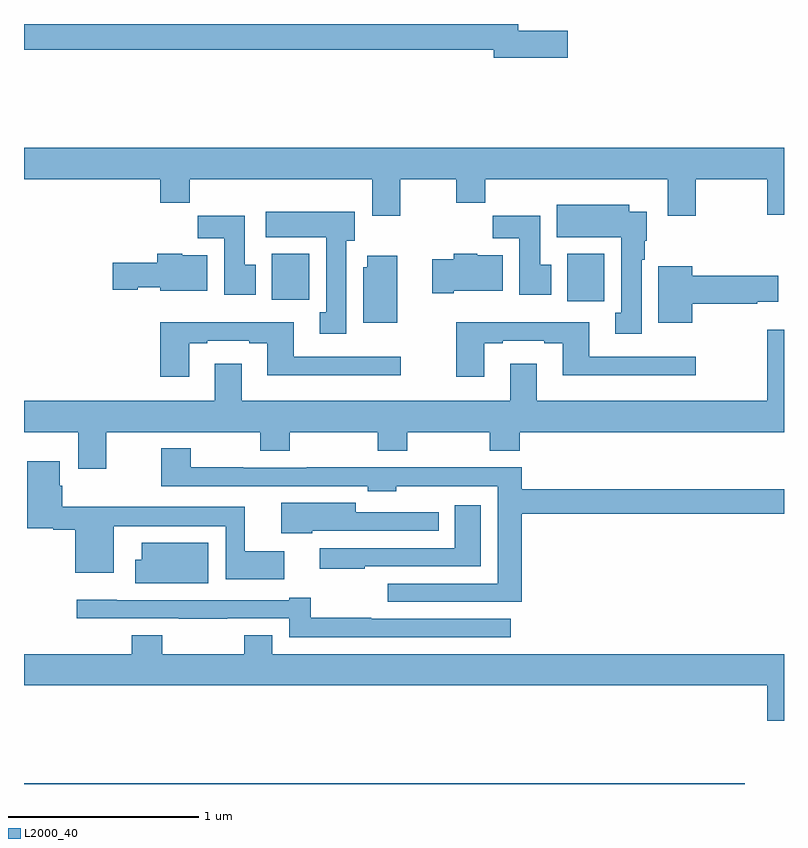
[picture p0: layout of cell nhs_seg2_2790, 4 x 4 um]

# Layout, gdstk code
import gdstk
lib = gdstk.Library(unit=1e-6, precision=1e-09)
def R(c, l, rs):  # rectangles x0, y0, x1, y1
    for r in rs: c.add(gdstk.rectangle(r[:2], r[2:], *l))
def P(c, l, *ps):  # polygons
    for p in ps: c.add(gdstk.Polygon(p, *l))
L2000_40 = (2000, 40)

nhs_seg2_2790 = lib.new_cell('nhs_seg2_2790')
R(nhs_seg2_2790, L2000_40, [(257,629.8,260.794,629.804), (259.859,632.34,260.055,632.59), (258.305,632.348,258.502,632.59)])
P(nhs_seg2_2790, L2000_40, [(259.861,633.764),(259.6,633.764),(259.6,633.8),(257,633.8),(257,633.664),(259.472,633.664),(259.472,633.622),(259.861,633.622)],
  [(258.981,632.984),(259.276,632.984),(259.276,632.86),(259.427,632.86),(259.427,632.984),(260.387,632.984),(260.387,632.79),(260.535,632.79),(260.535,632.984),(260.912,632.984),(260.912,632.796),(261,632.796),(261,633.148),(257,633.148),(257,632.984),(257.717,632.984),(257.717,632.86),(257.873,632.86),(257.873,632.984),(258.833,632.984),(258.833,632.79),(258.981,632.79)],
  [(260.251,632.558),(260.266,632.558),(260.266,632.658),(260.278,632.658),(260.278,632.812),(260.185,632.812),(260.185,632.848),(259.805,632.848),(259.805,632.678),(260.144,632.678),(260.144,632.281),(260.111,632.281),(260.111,632.169),(260.251,632.169)],
  [(258.697,632.658),(258.742,632.658),(258.742,632.812),(258.273,632.812),(258.273,632.678),(258.59,632.678),(258.59,632.282),(258.557,632.282),(258.557,632.169),(258.697,632.169)],
  [(258.22,632.532),(258.163,632.532),(258.163,632.791),(257.914,632.791),(257.914,632.672),(258.053,632.672),(258.053,632.376),(258.22,632.376)],
  [(259.774,632.532),(259.717,632.532),(259.717,632.79),(259.468,632.79),(259.468,632.672),(259.607,632.672),(259.607,632.376),(259.774,632.376)],
  [(257.965,632.584),(257.832,632.584),(257.832,632.59),(257.702,632.59),(257.702,632.544),(257.466,632.544),(257.466,632.402),(257.598,632.402),(257.598,632.414),(257.718,632.414),(257.718,632.396),(257.965,632.396)],
  [(259.261,632.396),(259.519,632.396),(259.519,632.584),(259.386,632.584),(259.386,632.59),(259.261,632.59),(259.261,632.562),(259.149,632.562),(259.149,632.384),(259.261,632.384)],
  [(258.964,632.581),(258.806,632.581),(258.806,632.52),(258.785,632.52),(258.785,632.228),(258.964,632.228)],
  [(260.518,632.327),(260.858,632.327),(260.858,632.339),(260.971,632.339),(260.971,632.474),(260.518,632.474),(260.518,632.524),(260.339,632.524),(260.339,632.228),(260.518,632.228)],
  [(257.869,632.121),(257.965,632.121),(257.965,632.133),(258.185,632.133),(258.185,632.121),(258.281,632.121),(258.281,631.952),(258.982,631.952),(258.982,632.049),(258.421,632.049),(258.421,632.23),(257.717,632.23),(257.717,631.944),(257.869,631.944)],
  [(259.423,632.121),(259.519,632.121),(259.519,632.133),(259.739,632.133),(259.739,632.121),(259.835,632.121),(259.835,631.952),(260.536,631.952),(260.536,632.049),(259.975,632.049),(259.975,632.23),(259.276,632.23),(259.276,631.944),(259.423,631.944)],
  [(258.145,632.011),(258.005,632.011),(258.005,631.816),(257,631.816),(257,631.652),(257.285,631.652),(257.285,631.458),(257.433,631.458),(257.433,631.652),(258.244,631.652),(258.244,631.553),(258.399,631.553),(258.399,631.652),(258.862,631.652),(258.862,631.553),(259.017,631.553),(259.017,631.652),(259.45,631.652),(259.45,631.553),(259.61,631.553),(259.61,631.652),(261,631.652),(261,632.191),(260.912,632.191),(260.912,631.816),(259.699,631.816),(259.699,632.011),(259.559,632.011),(259.559,631.816),(258.145,631.816)],
  [(259.619,631.222),(261,631.222),(261,631.351),(259.619,631.351),(259.619,631.466),(258.487,631.466),(258.487,631.464),(258.155,631.464),(258.155,631.466),(257.877,631.466),(257.877,631.567),(257.722,631.567),(257.722,631.368),(258.81,631.368),(258.81,631.34),(258.96,631.34),(258.96,631.367),(259.172,631.367),(259.172,631.368),(259.493,631.368),(259.493,630.855),(258.915,630.855),(258.915,630.759),(259.619,630.759)],
  [(258.37,631.024),(258.161,631.024),(258.161,631.258),(257.201,631.258),(257.201,631.37),(257.188,631.37),(257.188,631.498),(257.017,631.498),(257.017,631.145),(257.154,631.145),(257.154,631.138),(257.27,631.138),(257.27,630.911),(257.473,630.911),(257.473,631.157),(258.063,631.157),(258.063,630.878),(258.37,630.878)],
  [(258.516,631.134),(259.183,631.134),(259.183,631.23),(258.745,631.23),(258.745,631.279),(258.354,631.279),(258.354,631.119),(258.516,631.119)],
  [(258.793,630.945),(259.405,630.945),(259.405,631.267),(259.268,631.267),(259.268,631.041),(258.557,631.041),(258.557,630.932),(258.793,630.932)],
  [(257.971,631.069),(257.621,631.069),(257.621,630.979),(257.585,630.979),(257.585,630.857),(257.971,630.857)],
  [(259.561,630.669),(258.827,630.669),(258.827,630.674),(258.509,630.674),(258.509,630.781),(258.395,630.781),(258.395,630.768),(257.489,630.768),(257.489,630.769),(257.277,630.769),(257.277,630.672),(257.815,630.672),(257.815,630.671),(258.071,630.671),(258.071,630.672),(258.395,630.672),(258.395,630.573),(259.561,630.573)],
  [(260.912,630.132),(261,630.132),(261,630.484),(258.307,630.484),(258.307,630.583),(258.16,630.583),(258.16,630.484),(257.727,630.484),(257.727,630.583),(257.567,630.583),(257.567,630.484),(257,630.484),(257,630.32),(260.912,630.32)])

lib.write_gds('nhs_seg2_2790.gds')
